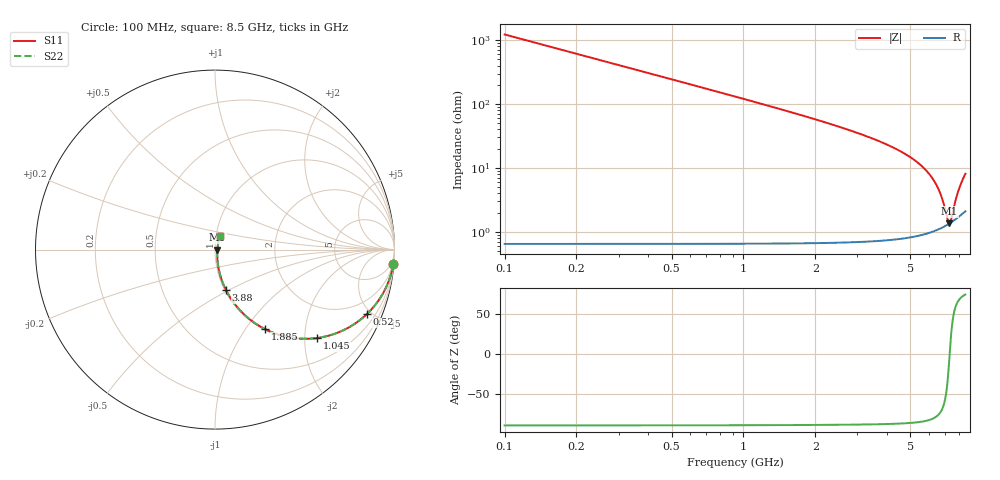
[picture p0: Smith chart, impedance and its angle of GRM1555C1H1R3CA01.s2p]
!Murata Part Number: GRM1555C1H1R3CA01
!These Parameters are Measured in Series Mode Connection
!Data Generated on Mar 30, 2021
!  o--ll--o
!Port1  Port2
!  o------o
!Operation Temp=25[degC], DC Bias Voltage=0[V]
!Freq. Start=100[MHz] Stop=9[GHz] 401[Steps]
# Hz S RI R 50
!Freq.(Hz) S11(Real) S11(Imag) S21(Real) S21(Imag) S12(Real) S12(Imag) S22(Real) S22(Imag)
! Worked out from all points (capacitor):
!   401 points, 100 MHz to 8.5 GHz, reference 50 ohm
!   read as one part in series: C = 1.3 pF near 142 MHz
!   lowest |Z| = 1.36 ohm at 7.282 GHz (marker M1)
!   series resonance near 7.302 GHz, so ESL is about 370 pH
!   S11 on the Smith chart (normalised r, x): 100 MHz: 1, -24; 520 MHz: 1.01, -4.69; 1.045 GHz: 1.01, -2.31; 1.885 GHz: 1.01, -1.23; 3.88 GHz: 1.01, -0.49; 8.5 GHz: 1.04, +0.16
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1e8  0.9933 -0.0811  0.00667 0.0811  0.00667 0.0811  0.9933 -0.0811
2.05e8  0.9725 -0.1629  0.0275 0.1629  0.0275 0.1629  0.9725 -0.1629
2.68e8  0.9539 -0.209  0.0461 0.209  0.0461 0.209  0.9539 -0.209
3.73e8  0.9143 -0.2789  0.0857 0.2789  0.0857 0.2789  0.9143 -0.2789
5.2e8  0.8455 -0.3601  0.1545 0.3601  0.1545 0.3601  0.8455 -0.3601
7.51e8  0.7226 -0.4457  0.2774 0.4457  0.2774 0.4457  0.7226 -0.4457
1.045e9  0.5704 -0.4922  0.4296 0.4922  0.4296 0.4922  0.5704 -0.4922
1.507e9  0.3827 -0.4819  0.6173 0.4819  0.6173 0.4819  0.3827 -0.4819
1.885e9  0.2773 -0.4423  0.7227 0.4423  0.7227 0.4423  0.2773 -0.4423
2.914e9  0.1236 -0.3198  0.8764 0.3198  0.8764 0.3198  0.1236 -0.3198
3.88e9  0.062 -0.2265  0.938 0.2265  0.938 0.2265  0.062 -0.2265
4.3e9  0.0464 -0.1924  0.9536 0.1924  0.9536 0.1924  0.0464 -0.1924
5.707e9  0.0184 -0.0959  0.9816 0.0959  0.9816 0.0959  0.0184 -0.0959
6.169e9  0.0146 -0.0676  0.9854 0.0676  0.9854 0.0676  0.0146 -0.0676
6.547e9  0.0129 -0.045  0.9871 0.045  0.9871 0.045  0.0129 -0.045
6.841e9  0.0125 -0.0275  0.9875 0.0275  0.9875 0.0275  0.0125 -0.0275
7.114e9  0.0128 -0.0112  0.9872 0.0112  0.9872 0.0112  0.0128 -0.0112
7.282e9  0.0133 -0.0012  0.9867 0.0012  0.9867 0.0012  0.0133 -0.0012
7.387e9  0.0138 0.00511  0.9862 -0.00511  0.9862 -0.00511  0.0138 0.00511
7.702e9  0.016 0.0242  0.984 -0.0242  0.984 -0.0242  0.016 0.0242
7.933e9  0.0182 0.0385  0.9818 -0.0385  0.9818 -0.0385  0.0182 0.0385
8.5e9  0.0263 0.0748  0.9737 -0.0748  0.9737 -0.0748  0.0263 0.0748
